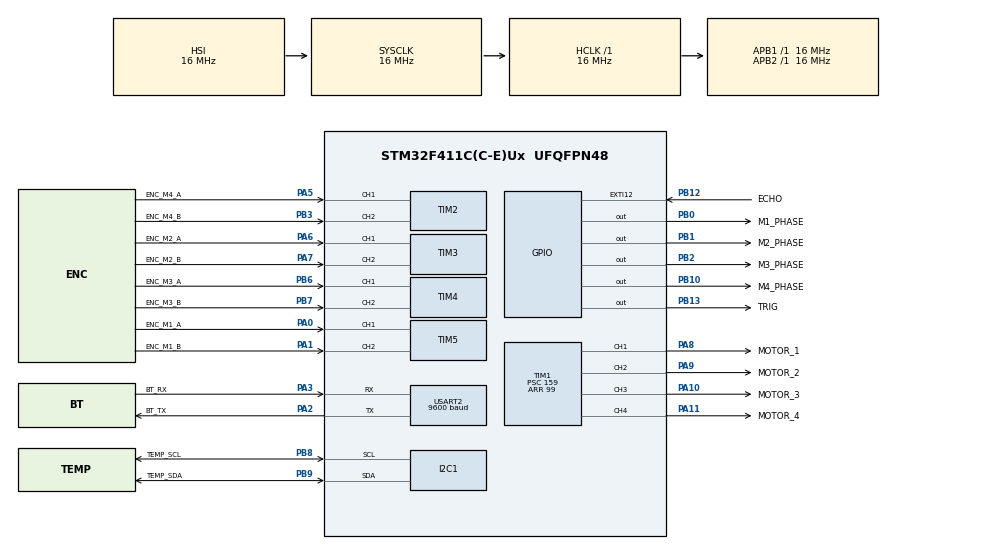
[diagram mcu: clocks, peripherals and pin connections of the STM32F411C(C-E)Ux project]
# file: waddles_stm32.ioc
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Mcu.Family=STM32F4
Mcu.Name=STM32F411C(C-E)Ux
Mcu.Package=UFQFPN48
NVIC.EXTI15_10_IRQn=true\:0\:0\:true\:false\:true\:true\:true
NVIC.PriorityGroup=NVIC_PRIORITYGROUP_4
NVIC.TIM1_BRK_TIM9_IRQn=true\:0\:0\:false\:false\:true\:true\:true
NVIC.TIM1_UP_TIM10_IRQn=true\:0\:0\:false\:false\:true\:true\:true
NVIC.USART2_IRQn=true\:0\:0\:false\:false\:true\:true\:true
PA0-WKUP.GPIO_Label=ENC_M1_A
PA0-WKUP.Signal=S_TIM5_CH1
PA1.GPIO_Label=ENC_M1_B
PA1.Signal=S_TIM5_CH2
PA10.GPIO_Label=MOTOR_3
PA10.Signal=S_TIM1_CH3
PA11.GPIO_Label=MOTOR_4
PA11.Signal=S_TIM1_CH4
PA13.Mode=Serial_Wire
PA13.Signal=SYS_JTMS-SWDIO
PA14.Mode=Serial_Wire
PA14.Signal=SYS_JTCK-SWCLK
PA2.GPIO_Label=BT_TX
PA2.Mode=Asynchronous
PA2.Signal=USART2_TX
PA3.GPIO_Label=BT_RX
PA3.Mode=Asynchronous
PA3.Signal=USART2_RX
PA5.GPIO_Label=ENC_M4_A
PA5.Signal=S_TIM2_CH1_ETR
PA6.GPIO_Label=ENC_M2_A
PA6.Signal=S_TIM3_CH1
PA7.GPIO_Label=ENC_M2_B
PA7.Signal=S_TIM3_CH2
PA8.GPIO_Label=MOTOR_1
PA8.Signal=S_TIM1_CH1
PA9.GPIO_Label=MOTOR_2
PA9.Signal=S_TIM1_CH2
PB0.GPIO_Label=M1_PHASE
PB0.Signal=GPIO_Output
PB1.GPIO_Label=M2_PHASE
PB1.Signal=GPIO_Output
PB10.GPIO_Label=M4_PHASE
PB10.Signal=GPIO_Output
PB12.GPIO_Label=ECHO
PB12.GPIO_ModeDefaultEXTI=GPIO_MODE_IT_RISING
PB12.GPIO_PuPd=GPIO_NOPULL
PB12.Signal=GPXTI12
PB13.GPIO_Label=TRIG
PB13.Signal=GPIO_Output
PB2.GPIO_Label=M3_PHASE
PB2.Signal=GPIO_Output
PB3.GPIO_Label=ENC_M4_B
PB3.Signal=S_TIM2_CH2
PB6.GPIO_Label=ENC_M3_A
PB6.Signal=S_TIM4_CH1
PB7.GPIO_Label=ENC_M3_B
PB7.Signal=S_TIM4_CH2
PB8.GPIO_Label=TEMP_SCL
PB8.Mode=I2C
PB8.Signal=I2C1_SCL
PB9.GPIO_Label=TEMP_SDA
PB9.Mode=I2C
PB9.Signal=I2C1_SDA
PC14-OSC32_IN.Mode=LSE-External-Oscillator
PC14-OSC32_IN.Signal=RCC_OSC32_IN
PC15-OSC32_OUT.Mode=LSE-External-Oscillator
PC15-OSC32_OUT.Signal=RCC_OSC32_OUT
PH0\ -\ OSC_IN.Mode=HSE-External-Oscillator
PH0\ -\ OSC_IN.Signal=RCC_OSC_IN
PH1\ -\ OSC_OUT.Mode=HSE-External-Oscillator
PH1\ -\ OSC_OUT.Signal=RCC_OSC_OUT
ProjectManager.HeapSize=0x200
ProjectManager.StackSize=0x400
ProjectManager.TargetToolchain=STM32CubeIDE
RCC.AHBFreq_Value=16000000
RCC.APB1Freq_Value=16000000
RCC.APB2Freq_Value=16000000
RCC.CortexFreq_Value=16000000
RCC.HSE_VALUE=25000000
RCC.HSI_VALUE=16000000
RCC.SYSCLKFreq_VALUE=16000000
RCC.VCOOutputFreq_Value=192000000
SH.S_TIM1_CH1.0=TIM1_CH1,PWM Generation1 CH1
SH.S_TIM1_CH2.0=TIM1_CH2,PWM Generation2 CH2
SH.S_TIM1_CH3.0=TIM1_CH3,PWM Generation3 CH3
SH.S_TIM1_CH4.0=TIM1_CH4,PWM Generation4 CH4
SH.S_TIM2_CH1_ETR.0=TIM2_CH1,Encoder_Interface
SH.S_TIM2_CH2.0=TIM2_CH2,Encoder_Interface
SH.S_TIM3_CH1.0=TIM3_CH1,Encoder_Interface
SH.S_TIM3_CH2.0=TIM3_CH2,Encoder_Interface
SH.S_TIM4_CH1.0=TIM4_CH1,Encoder_Interface
SH.S_TIM4_CH2.0=TIM4_CH2,Encoder_Interface
SH.S_TIM5_CH1.0=TIM5_CH1,Encoder_Interface
SH.S_TIM5_CH2.0=TIM5_CH2,Encoder_Interface
TIM1.Channel-PWM\ Generation1\ CH1=TIM_CHANNEL_1
TIM1.Channel-PWM\ Generation2\ CH2=TIM_CHANNEL_2
TIM1.Channel-PWM\ Generation3\ CH3=TIM_CHANNEL_3
TIM1.Channel-PWM\ Generation4\ CH4=TIM_CHANNEL_4
TIM1.Period=99
TIM1.Prescaler=159
TIM10.Period=999
TIM10.Prescaler=15999
TIM11.Prescaler=15
TIM2.EncoderMode=TIM_ENCODERMODE_TI12
TIM2.IC1Filter=15
TIM2.IC2Filter=15
TIM3.EncoderMode=TIM_ENCODERMODE_TI12
TIM3.IC1Filter=15
TIM3.IC2Filter=15
TIM4.EncoderMode=TIM_ENCODERMODE_TI12
TIM4.IC1Filter=15
TIM4.IC2Filter=15
TIM5.EncoderMode=TIM_ENCODERMODE_TI12
TIM5.IC1Filter=15
TIM5.IC2Filter=15
TIM9.Period=1599
TIM9.Prescaler=99
USART2.BaudRate=9600
USART2.VirtualMode=VM_ASYNC
VP_TIM10_VS_ClockSourceINT.Mode=Enable_Timer
VP_TIM11_VS_ClockSourceINT.Mode=Enable_Timer
VP_TIM9_VS_ClockSourceINT.Mode=Internal
board=custom

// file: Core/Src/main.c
/* USER CODE BEGIN Header */
/**
  ******************************************************************************
  * @file           : main.c
  * @brief          : Main program body
  ******************************************************************************
  * @attention
  *
  * <h2><center>&copy; Copyright (c) 2021 STMicroelectronics.
  * All rights reserved.</center></h2>
  *
  * This software component is licensed by ST under BSD 3-Clause license,
  * the "License"; You may not use this file except in compliance with the
  * License. You may obtain a copy of the License at:
  *                        opensource.org/licenses/BSD-3-Clause
  *
  ******************************************************************************
  */
/* USER CODE END Header */
#include "main.h"
#include "i2c.h"
#include "tim.h"
#include "usart.h"
#include "gpio.h"

/* USER CODE BEGIN Includes */
#include <stdio.h>
#include "bluetooth.h"
#include "temperature_sensor.h"
#include "motors.h"
#include "encoders.h"
#include "ultrasonic_sensor.h"
#include "pid.h"
/* USER CODE END Includes */

/* USER CODE BEGIN PD */
#define TEMPERATURE_ALERT 100
#define DISTANCE_LIMIT 8
/* USER CODE END PD */

/* USER CODE BEGIN PV */

extern volatile char command[2];
extern volatile uint16_t E1_rpm;
extern volatile uint16_t E2_rpm;
extern volatile uint16_t E3_rpm;
extern volatile uint16_t E4_rpm;
extern volatile uint8_t command_flag;

volatile uint8_t main_flag = 0;
volatile uint8_t control_flag = 0;

/* USER CODE END PV */

void SystemClock_Config(void);

/* USER CODE BEGIN 0 */
int _write (int file, char *ptr, int len)
{
	HAL_UART_Transmit(&huart2, ptr, len, 50);
	return len;
}

void HAL_TIM_PeriodElapsedCallback(TIM_HandleTypeDef *htim)
{
	if(htim == &htim10)	// main loop
	{
		main_flag = 1;
	}
	if(htim == &htim9) // encoders
	{
		control_flag = 1;
	}
}

void start_peripherals()
{
	BT_start();
	USONIC_start();
	MOTORS_start();
	ENCODERS_start();
	HAL_TIM_Base_Start_IT(&htim10);
}

void stop_peripherals()
{
	BT_stop();
	USONIC_stop();
	MOTORS_stop();
	ENCODERS_stop();
	HAL_TIM_Base_Stop_IT(&htim10);
}

void temperature_alert()
{
	stop_peripherals();
	float temperature = TEMPERATURE_ALERT;
	while(temperature >= TEMPERATURE_ALERT)
		temperature = TEMP_get_data();
	start_peripherals();
}

/* USER CODE END 0 */

int main(void)
{
  /* USER CODE BEGIN 1 */
  float temperature = 0.0;
  uint8_t measurements = 8;
  uint16_t distance_array[8];
  uint16_t distance = 0;
  uint16_t setpoints[4] = {SPEED_STOP};
  uint16_t average_distance = 0;
  PID_handler pid_m1, pid_m2, pid_m3, pid_m4;
  float p = 1.0f, i = 20.0f, d = 0.00f;

  /* USER CODE END 1 */

  /* MCU Configuration--------------------------------------------------------*/

  /* Reset of all peripherals, Initializes the Flash interface and the Systick. */
  HAL_Init();

  /* Configure the system clock */
  SystemClock_Config();

  /* Initialize all configured peripherals */
  MX_GPIO_Init();
  MX_I2C1_Init();
  MX_TIM1_Init();
  MX_TIM2_Init();
  MX_TIM3_Init();
  MX_TIM4_Init();
  MX_TIM5_Init();
  MX_USART2_UART_Init();
  MX_TIM10_Init();
  MX_TIM11_Init();
  MX_TIM9_Init();
  /* USER CODE BEGIN 2 */
  start_peripherals();
  PID_init(&pid_m1, p, i, d);
  PID_init(&pid_m2, p, i, d);
  PID_init(&pid_m3, p, i, d);
  PID_init(&pid_m4, p, i, d);

  distance = USONIC_get_distance();
  for(uint8_t i = 0; i < measurements; i++)
	  distance_array[i] = distance;
  uint8_t current_index = 0;
  uint8_t distance_sum = measurements * distance;
  average_distance = distance;
  /* USER CODE END 2 */

  /* Infinite loop */
  /* USER CODE BEGIN WHILE */
  while (1)
  {
	  if(main_flag)
	  {
		  temperature = TEMP_get_data();
		  if(temperature >= TEMPERATURE_ALERT)
		  {
		  	  setpoints_to_zeros(setpoints);
			  temperature_alert();
		  }
		  distance = USONIC_get_distance();
		  distance_sum = distance_sum - distance_array[current_index] +  distance;
		  distance_array[current_index] = distance;
		  current_index = (current_index + 1) % measurements;
		  average_distance = distance_sum / measurements;
		  main_flag = 0;
	  }
	  if(command_flag)
	  {
		  printf("%s\r\n", command);

		  if(strcmp(command, "nn") == 0)
		  {
			  setpoints_to_zeros(setpoints);
		  }
		  else if(strcmp(command, "ll") == 0)
		  {
		  	  setpoints_to_const(setpoints);
		  	  MOTORS_go_left();
		  }
		  else if(strcmp(command, "rr") == 0)
		  {
		  	  setpoints_to_const(setpoints);
		  	  MOTORS_go_right();
		  }
		  else if(strcmp(command, "bb") == 0)
		  {
		  	  setpoints_to_const(setpoints);
		  	  MOTORS_go_backward();
		  }
		  else if(strcmp(command, "ff") == 0)
		  {
			  if(average_distance <= DISTANCE_LIMIT)
			  {
			  	  setpoints_to_zeros(setpoints);
			  }
			  else
			  {
				  setpoints_to_const(setpoints);
				  MOTORS_go_forward();
			  }
		  }
		  else if(strcmp(command, "fl") == 0)
		  {
			  if(average_distance <= DISTANCE_LIMIT)
			  {
			  	  setpoints_to_zeros(setpoints);
			  }
			  else
			  {
				  setpoints_to_fl_br(setpoints);
				  MOTORS_go_forwardleft();
			  }
		  }
		  else if(strcmp(command, "fr") == 0)
		  {
			  if(average_distance <= DISTANCE_LIMIT)
			  {
				  setpoints_to_zeros(setpoints);
			  }
			  else
			  {
				  setpoints_to_fr_bl(setpoints);
		  	  	  MOTORS_go_forwardright();
			  }
		  }
		  else if(strcmp(command, "bl") == 0)
		  {
		  	  setpoints_to_fr_bl(setpoints);
		  	  MOTORS_go_backwardleft();
		  }
		  else if(strcmp(command, "br") == 0)
		  {
		  	  setpoints_to_fl_br(setpoints);
		  	  MOTORS_go_backwardright();
		  }
		  else if(strcmp(command, "cc") == 0)
		  {
		  	  MOTORS_rotate();
		  	  setpoints_to_const(setpoints);
		  }
		  command_flag = 0;
	  }
	  if(control_flag)
	  {
		  ENCODERS_get_rpm();
		  MOTORS_set_speed(1, PID_output(&pid_m1, setpoints[0], E1_rpm));
		  MOTORS_set_speed(2, PID_output(&pid_m2, setpoints[1], E2_rpm));
		  MOTORS_set_speed(3, PID_output(&pid_m3, setpoints[2], E3_rpm));
		  MOTORS_set_speed(4, PID_output(&pid_m4, setpoints[3], E4_rpm));
		  control_flag = 0;
	  }
    /* USER CODE END WHILE */

  }
}

void SystemClock_Config(void)
{
  RCC_OscInitTypeDef RCC_OscInitStruct = {0};
  RCC_ClkInitTypeDef RCC_ClkInitStruct = {0};

  /** Configure the main internal regulator output voltage
  */
  __HAL_RCC_PWR_CLK_ENABLE();
  __HAL_PWR_VOLTAGESCALING_CONFIG(PWR_REGULATOR_VOLTAGE_SCALE1);
  /** Initializes the RCC Oscillators according to the specified parameters
  * in the RCC_OscInitTypeDef structure.
  */
  RCC_OscInitStruct.OscillatorType = RCC_OSCILLATORTYPE_HSI;
  RCC_OscInitStruct.HSIState = RCC_HSI_ON;
  RCC_OscInitStruct.HSICalibrationValue = RCC_HSICALIBRATION_DEFAULT;
  RCC_OscInitStruct.PLL.PLLState = RCC_PLL_NONE;
  if (HAL_RCC_OscConfig(&RCC_OscInitStruct) != HAL_OK)
  {
    Error_Handler();
  }
  /** Initializes the CPU, AHB and APB buses clocks
  */
  RCC_ClkInitStruct.ClockType = RCC_CLOCKTYPE_HCLK|RCC_CLOCKTYPE_SYSCLK
                              |RCC_CLOCKTYPE_PCLK1|RCC_CLOCKTYPE_PCLK2;
  RCC_ClkInitStruct.SYSCLKSource = RCC_SYSCLKSOURCE_HSI;
  RCC_ClkInitStruct.AHBCLKDivider = RCC_SYSCLK_DIV1;
  RCC_ClkInitStruct.APB1CLKDivider = RCC_HCLK_DIV1;
  RCC_ClkInitStruct.APB2CLKDivider = RCC_HCLK_DIV1;

  if (HAL_RCC_ClockConfig(&RCC_ClkInitStruct, FLASH_LATENCY_0) != HAL_OK)
  {
    Error_Handler();
  }
}

void Error_Handler(void)
{
}

/************************ (C) COPYRIGHT STMicroelectronics *****END OF FILE****/
